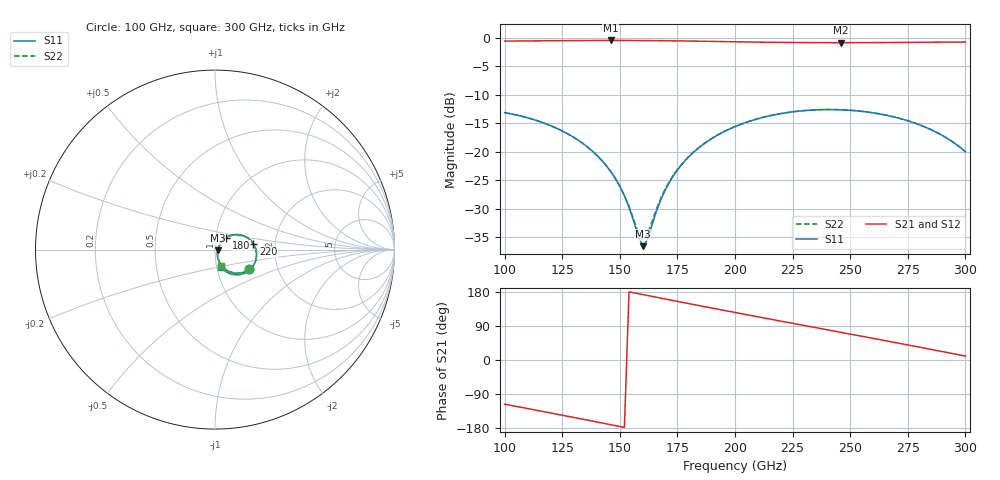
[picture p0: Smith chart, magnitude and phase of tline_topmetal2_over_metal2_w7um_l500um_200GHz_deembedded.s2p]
! Created with skrf 2.2.0 (http://scikit-rf.org).
# GHz S DB R 50.0
! Port[1] = P1
! Port[2] = P2
!freq dBS11 angS11 dBS21 angS21 dBS12 angS12 dBS22 angS22
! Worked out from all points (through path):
!   101 points, 100 GHz to 300 GHz, reference 50 ohm
!   highest |S21| = -0.46 dB at 146 GHz (marker M1); lowest = -0.9 dB at 246 GHz (marker M2)
!   group delay of S21, straight-line fit = 3.23 ps
!   lowest |S11| = -36.6 dB at 160 GHz (marker M3), VSWR 1.03, Z = 51.5 - j0.395 ohm
!   |S11| at or under -10 dB: start of sweep to end of sweep
!   |S22| runs from -35.5 to -12.6 dB; largest |S21 - S12| = 1.1e-14
!   S11 on the Smith chart (normalised r, x): 100 GHz: 1.43, -0.33; 180 GHz: 1.12, +0.15; 220 GHz: 1.54, +0.11; 300 GHz: 1.05, -0.20
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100  -13.13 -29.7  -0.57 -116.6  -0.57 -116.6  -13.14 -29.5
118  -15.10 -48.4  -0.52 -137.5  -0.52 -137.5  -15.11 -48.0
134  -18.55 -63.9  -0.47 -156.3  -0.47 -156.3  -18.56 -63.2
140  -20.61 -68.7  -0.46 -163.4  -0.46 -163.4  -20.61 -67.8
146  -23.44 -72.0  -0.46 -170.6  -0.46 -170.6  -23.43 -70.5
152  -27.73 -70.4  -0.46 -177.8  -0.46 -177.8  -27.65 -67.9
154  -29.74 -66.8  -0.46 179.8  -0.46 179.8  -29.58 -63.7
158  -34.84 -43.6  -0.47 175.0  -0.47 175.0  -34.18 -39.6
160  -36.58 -15.0  -0.48 172.6  -0.48 172.6  -35.51 -13.4
162  -35.45 16.1  -0.48 170.3  -0.48 170.3  -34.52 14.0
168  -28.22 48.1  -0.50 163.1  -0.50 163.1  -27.98 45.4
174  -23.77 50.5  -0.53 155.9  -0.53 155.9  -23.67 48.7
180  -20.87 47.6  -0.56 148.8  -0.56 148.8  -20.81 46.2
190  -17.67 39.3  -0.63 137.1  -0.63 137.1  -17.63 38.3
200  -15.59 29.5  -0.69 125.5  -0.69 125.5  -15.57 28.7
220  -13.30 8.7  -0.80 102.5  -0.80 102.5  -13.28 8.1
234  -12.67 -6.1  -0.84 86.6  -0.84 86.6  -12.66 -6.5
246  -12.63 -18.7  -0.85 73.0  -0.85 73.0  -12.63 -19.0
256  -12.95 -29.1  -0.84 61.6  -0.84 61.6  -12.95 -29.3
268  -13.79 -41.5  -0.82 47.9  -0.82 47.9  -13.79 -41.5
286  -16.30 -59.2  -0.76 26.9  -0.76 26.9  -16.29 -58.9
300  -20.00 -70.5  -0.73 10.4  -0.73 10.4  -19.97 -69.5
